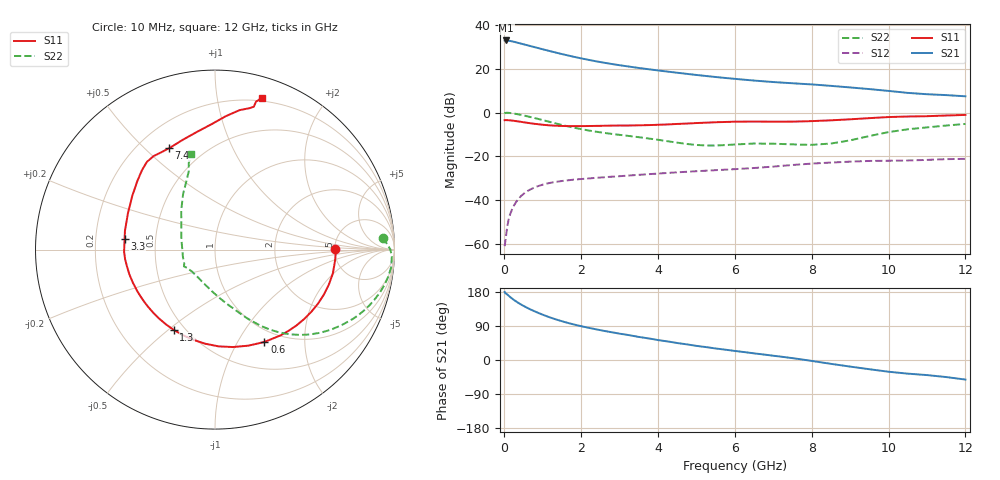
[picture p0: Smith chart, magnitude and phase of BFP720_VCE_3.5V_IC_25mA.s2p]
! Infineon Technologies  Discrete & RF Semiconductors
! BFP720
! VCE =  3.5 V,  IC =  25 mA
! Common Emitter S-Parameters:  Aug 2012
# GHz  S  MA  R  50
!  f  S11  S21  S12  S22
! GHz  MAG  ANG  MAG  ANG  MAG  ANG  MAG  ANG
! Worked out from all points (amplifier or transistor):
!   105 points, 10 MHz to 12 GHz, reference 50 ohm
!   highest |S21| = 32.9 dB at 50 MHz (marker M1)
!   |S21| within 3 dB of that: start of sweep to 778.6 MHz
!   unconditionally stable (mu >= 1): start of sweep to 13.82 MHz; 4.116 GHz to 9.741 GHz
!   at 300 MHz: K = 0.19, MSG = 36.5 dB, |S12| = -41.0 dB
!   at 3.6 GHz: K = 0.94, MSG = 24.2 dB, |S12| = -28.3 dB
!   at 12 GHz: K = 0.74, MSG = 14.3 dB, |S12| = -21.1 dB
!   S11 on the Smith chart (normalised r, x): 10 MHz: 5.04, +0.02; 600 MHz: 0.83, -1.30; 1.3 GHz: 0.44, -0.52; 3.3 GHz: 0.33, +0.05; 7.4 GHz: 0.32, +0.59; 12 GHz: 0.18, +1.34
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0.01  0.6687 0.1  43.64 179.5  0.0009 1.9  0.9392 4.0
0.02  0.673 -1.9  43.93 177.4  0.001 99.5  0.9768 0.1
0.05  0.6715 -5.5  43.94 175.1  0.0016 77.9  0.9861 -2.2
0.11  0.6682 -12.5  43.36 170.1  0.0035 83.4  0.9841 -6.4
0.2  0.6565 -22.4  41.95 162.5  0.0061 78.9  0.9638 -11.9
0.3  0.6387 -32.9  40.01 155.2  0.0089 74.1  0.9321 -17.3
0.45  0.6106 -47.8  36.97 145.7  0.0128 68.3  0.8787 -24.5
0.6  0.5836 -61.9  34.19 137.6  0.0162 63.2  0.8209 -30.9
0.9  0.5395 -87.9  29.19 123.7  0.0213 54.2  0.7092 -41.8
1.1  0.5172 -103.4  26.32 115.7  0.0239 49.5  0.6392 -47.7
1.3  0.503 -117.2  23.78 108.6  0.0259 45.7  0.5769 -52.7
1.7  0.4905 -139.2  19.6 96.7  0.0288 40.6  0.4749 -60.5
2.1  0.4913 -154.8  16.49 87.1  0.031 37.5  0.4041 -66.4
2.6  0.4993 -169.1  13.65 76.8  0.0335 35.4  0.3439 -72.6
3.3  0.507 173.4  10.99 64.6  0.037 33.5  0.2883 -81.1
4.1  0.5296 155.0  8.896 51.2  0.0412 31.7  0.2322 -94.3
5  0.576 138.9  7.185 37.3  0.046 29.2  0.1825 -120.4
6.1  0.6193 126.9  5.751 22.7  0.0518 26.7  0.1888 -148.1
7.4  0.6205 114.5  4.708 6.2  0.0627 23.3  0.1896 -154.8
8.5  0.6643 98.5  4.056 -10.1  0.0724 15.5  0.1966 162.4
10.5  0.8116 76.2  2.805 -36.0  0.0807 0.8  0.4151 112.5
12  0.8828 72.9  2.346 -51.6  0.0879 -8.9  0.5504 104.2
